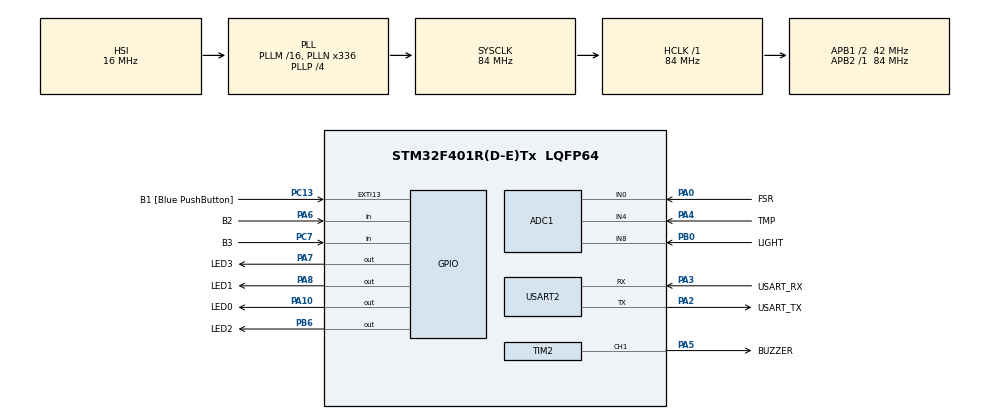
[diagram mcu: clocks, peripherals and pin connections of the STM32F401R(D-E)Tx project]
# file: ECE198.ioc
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ADC1.Channel-0\#ChannelRegularConversion=ADC_CHANNEL_0
ADC1.Channel-1\#ChannelRegularConversion=ADC_CHANNEL_4
ADC1.Channel-2\#ChannelRegularConversion=ADC_CHANNEL_8
ADC1.ContinuousConvMode=ENABLE
ADC1.NbrOfConversion=3
ADC1.NbrOfConversionFlag=1
ADC1.Rank-0\#ChannelRegularConversion=1
ADC1.Rank-1\#ChannelRegularConversion=2
ADC1.Rank-2\#ChannelRegularConversion=3
ADC1.SamplingTime-0\#ChannelRegularConversion=ADC_SAMPLETIME_28CYCLES
ADC1.SamplingTime-1\#ChannelRegularConversion=ADC_SAMPLETIME_84CYCLES
ADC1.SamplingTime-2\#ChannelRegularConversion=ADC_SAMPLETIME_144CYCLES
ADC1.ScanConvMode=ENABLE
ADC1.master=1
Mcu.Family=STM32F4
Mcu.Name=STM32F401R(D-E)Tx
Mcu.Package=LQFP64
NVIC.PriorityGroup=NVIC_PRIORITYGROUP_0
PA0-WKUP.GPIO_Label=FSR
PA0-WKUP.Signal=ADCx_IN0
PA10.GPIO_Label=LED0
PA10.Signal=GPIO_Output
PA13.GPIO_Label=TMS
PA13.Mode=Serial_Wire
PA13.Signal=SYS_JTMS-SWDIO
PA14.GPIO_Label=TCK
PA14.Mode=Serial_Wire
PA14.Signal=SYS_JTCK-SWCLK
PA2.GPIO_Label=USART_TX
PA2.GPIO_Mode=GPIO_MODE_AF_PP
PA2.GPIO_PuPd=GPIO_NOPULL
PA2.GPIO_Speed=GPIO_SPEED_FREQ_LOW
PA2.Mode=Asynchronous
PA2.Signal=USART2_TX
PA3.GPIO_Label=USART_RX
PA3.GPIO_Mode=GPIO_MODE_AF_PP
PA3.GPIO_PuPd=GPIO_NOPULL
PA3.GPIO_Speed=GPIO_SPEED_FREQ_LOW
PA3.Mode=Asynchronous
PA3.Signal=USART2_RX
PA4.GPIO_Label=TMP
PA4.Signal=ADCx_IN4
PA5.GPIO_Label=BUZZER
PA5.Signal=S_TIM2_CH1_ETR
PA6.GPIO_Label=B2
PA6.Signal=GPIO_Input
PA7.GPIO_Label=LED3
PA7.Signal=GPIO_Output
PA8.GPIO_Label=LED1
PA8.Signal=GPIO_Output
PB0.GPIO_Label=LIGHT
PB0.Signal=ADCx_IN8
PB3.GPIO_Label=SWO
PB3.Signal=SYS_JTDO-SWO
PB6.GPIO_Label=LED2
PB6.Signal=GPIO_Output
PC13-ANTI_TAMP.GPIO_Label=B1 [Blue PushButton]
PC13-ANTI_TAMP.GPIO_ModeDefaultEXTI=GPIO_MODE_IT_FALLING
PC13-ANTI_TAMP.GPIO_PuPd=GPIO_NOPULL
PC13-ANTI_TAMP.Signal=GPXTI13
PC14-OSC32_IN.Mode=LSE-External-Oscillator
PC14-OSC32_IN.Signal=RCC_OSC32_IN
PC15-OSC32_OUT.Mode=LSE-External-Oscillator
PC15-OSC32_OUT.Signal=RCC_OSC32_OUT
PC7.GPIO_Label=B3
PC7.Signal=GPIO_Input
PH0\ -\ OSC_IN.Mode=HSE-External-Clock-Source
PH0\ -\ OSC_IN.Signal=RCC_OSC_IN
PH1\ -\ OSC_OUT.Mode=HSE-External-Clock-Source
PH1\ -\ OSC_OUT.Signal=RCC_OSC_OUT
ProjectManager.HeapSize=0x200
ProjectManager.StackSize=0x400
ProjectManager.TargetToolchain=STM32CubeIDE
RCC.48MHZClocksFreq_Value=48000000
RCC.AHBFreq_Value=84000000
RCC.APB1CLKDivider=RCC_HCLK_DIV2
RCC.APB1Freq_Value=42000000
RCC.APB1TimFreq_Value=84000000
RCC.APB2Freq_Value=84000000
RCC.APB2TimFreq_Value=84000000
RCC.CortexFreq_Value=84000000
RCC.HCLKFreq_Value=84000000
RCC.HSE_VALUE=8000000
RCC.HSI_VALUE=16000000
RCC.PLLN=336
RCC.PLLP=RCC_PLLP_DIV4
RCC.PLLQ=7
RCC.SYSCLKFreq_VALUE=84000000
RCC.SYSCLKSource=RCC_SYSCLKSOURCE_PLLCLK
RCC.VCOOutputFreq_Value=336000000
SH.ADCx_IN0.0=ADC1_IN0,IN0
SH.ADCx_IN4.0=ADC1_IN4,IN4
SH.ADCx_IN8.0=ADC1_IN8,IN8
SH.S_TIM2_CH1_ETR.0=TIM2_CH1,PWM Generation1 CH1
TIM2.AutoReloadPreload=TIM_AUTORELOAD_PRELOAD_ENABLE
TIM2.Channel-PWM\ Generation1\ CH1=TIM_CHANNEL_1
TIM2.Period=700000
TIM2.Pulse-PWM\ Generation1\ CH1=0
USART2.VirtualMode=VM_ASYNC
VP_TIM2_VS_ClockSourceINT.Mode=Internal
board=NUCLEO-F401RE

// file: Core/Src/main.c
/* USER CODE BEGIN Header */
/**
 ********************************************************************************
 * @file           : main.c
 * @brief          : Main program body
 ********************************************************************************
 * @attention
 *
 * Copyright (c) 2023 STMicroelectronics.
 * All rights reserved.
 *
 * This software is licensed under terms that can be found in the LICENSE file
 * in the root directory of this software component.
 * If no LICENSE file comes with this software, it is provided AS-IS.
 *
 ******************************************************************************
 */
/* USER CODE END Header */
#include "main.h"

/* USER CODE BEGIN Includes */
#include <stdio.h>
#include <stdbool.h>
/* USER CODE END Includes */

ADC_HandleTypeDef hadc1;

TIM_HandleTypeDef htim2;

UART_HandleTypeDef huart2;

/* USER CODE BEGIN PV */
double const timescale = 1.0;

/* USER CODE END PV */

void SystemClock_Config(void);
static void MX_GPIO_Init(void);
static void MX_USART2_UART_Init(void);
static void MX_ADC1_Init(void);
static void MX_TIM2_Init(void);

/* USER CODE BEGIN 0 */

// the below 3 functions modified from https://controllerstech.com/stm32-adc-multi-channel-without-dma/
int readFSR() {
	ADC_ChannelConfTypeDef sConfig = { 0 };
	sConfig.Channel = ADC_CHANNEL_0;
	sConfig.Rank = 1;
	sConfig.SamplingTime = ADC_SAMPLETIME_28CYCLES;
	HAL_ADC_ConfigChannel(&hadc1, &sConfig);
	HAL_ADC_Start(&hadc1);
	HAL_ADC_PollForConversion(&hadc1, 500);
	int ret = HAL_ADC_GetValue(&hadc1);
	HAL_ADC_Stop(&hadc1);
	return ret;
}

int readTMP() {
	ADC_ChannelConfTypeDef sConfig = { 0 };
	sConfig.Channel = ADC_CHANNEL_4;
	sConfig.Rank = 1;
	sConfig.SamplingTime = ADC_SAMPLETIME_84CYCLES;
	HAL_ADC_ConfigChannel(&hadc1, &sConfig);
	HAL_ADC_Start(&hadc1);
	HAL_ADC_PollForConversion(&hadc1, 500);
	int ret = HAL_ADC_GetValue(&hadc1);
	HAL_ADC_Stop(&hadc1);
	return ret;
}

int readLIGHT() {
	ADC_ChannelConfTypeDef sConfig = { 0 };
	sConfig.Channel = ADC_CHANNEL_8;
	sConfig.Rank = 1;
	sConfig.SamplingTime = ADC_SAMPLETIME_144CYCLES;
	HAL_ADC_ConfigChannel(&hadc1, &sConfig);
	HAL_ADC_Start(&hadc1);
	HAL_ADC_PollForConversion(&hadc1, 500);
	int ret = HAL_ADC_GetValue(&hadc1);
	HAL_ADC_Stop(&hadc1);
	return ret;
}

void turn_on_buzzer(int freq, bool *buzzer_on) {
	if (!(*buzzer_on)) {
		const int CLOCK_FREQ = 84000000;
		__HAL_TIM_SET_AUTORELOAD(&htim2, CLOCK_FREQ / freq);
		__HAL_TIM_SET_COMPARE(&htim2, TIM_CHANNEL_1, CLOCK_FREQ / freq / 2);
		__HAL_TIM_SET_COUNTER(&htim2, 0);
		int eee = __HAL_TIM_GET_COUNTER(&htim2);
		int eeee = __HAL_TIM_GET_AUTORELOAD(&htim2);
		int eeeee = __HAL_TIM_GET_COMPARE(&htim2, TIM_CHANNEL_1);
		(*buzzer_on) = true;
	}
}

void turn_off_buzzer(bool *buzzer_on) {
	if (*buzzer_on) {
		__HAL_TIM_SET_AUTORELOAD(&htim2, 1);
		__HAL_TIM_SET_COMPARE(&htim2, TIM_CHANNEL_1, 0);
		__HAL_TIM_SET_COUNTER(&htim2, 0);
		(*buzzer_on) = false;
	}
}
/* USER CODE END 0 */

int main(void) {

	/* MCU Configuration--------------------------------------------------------*/

	/* Reset of all peripherals, Initializes the Flash interface and the Systick. */
	HAL_Init();

	/* Configure the system clock */
	SystemClock_Config();

	/* Initialize all configured peripherals */
	MX_GPIO_Init();
	MX_USART2_UART_Init();
	MX_ADC1_Init();
	MX_TIM2_Init();
	/* USER CODE BEGIN 2 */
	HAL_TIM_PWM_Start(&htim2, TIM_CHANNEL_1);
	int cnt = 0;
	uint32_t prevTick = 0;
	uint32_t prevDebugTick = 0;

	int m_sum_TMP = 0;
	int m_sum_LIGHT = 0;
	int m_sum_FSR = 0;

	int m_avg_TMP = 0;
	int m_avg_LIGHT = 0;
	int m_avg_FSR = 0;

	const int m_avg_cnt = 5; // number of values to keep track of for moving average

	int val_TMP[5] = { 0 };
	int val_LIGHT[5] = { 0 };
	int val_FSR[5] = { 0 };

	bool prev_fridge_is_open = false;
	bool is_alarming = 1;

	bool buzzer_on = 0;

	uint32_t buzzer_countdown_ms = 0; // how long until buzzer turns off
	uint32_t buzzer_start_time = 0;   // tick when buzzer turned on

	uint32_t C3_timer = 0;
	uint32_t C2_timer = 0;
	uint32_t C1_timer = 0;

	uint32_t prev_alarm = 0;
	// prev_alarm is the time at which the alarm previously rang

	double timescale = 720;
	/* USER CODE END 2 */

	/* Infinite loop */
	while (1) {

		/* USER CODE BEGIN 3 */
		uint32_t tick = HAL_GetTick();

		if (tick - prevTick > 100) {
			prevTick = tick;

			// Calculating moving averages
			cnt++;
			cnt %= m_avg_cnt;

			int reading = readFSR();
			m_sum_FSR += reading - val_FSR[cnt];
			val_FSR[cnt] = reading;
			m_avg_FSR = m_sum_FSR / m_avg_cnt;

			reading = readTMP();
			m_sum_TMP += reading - val_TMP[cnt];
			val_TMP[cnt] = reading;
			m_avg_TMP = m_sum_TMP / m_avg_cnt;

			reading = readLIGHT();
			m_sum_LIGHT += reading - val_LIGHT[cnt];
			val_LIGHT[cnt] = reading;
			m_avg_LIGHT = m_sum_LIGHT / m_avg_cnt;

			// timers and detection
			if (B2_pressed) { // just pushed down last loop
				C2_timer = 604800000; // milliseconds in a week
				play_buzzer_tone;
			} else if (B2_released) { // just released last loop
				play_buzzer_tone;
				last_removed = HAL_GetTick(); // time at which C2/C3 last removed
				last_removed_timer = C2_timer; // timer value when C2/C3 last removed
			}
			// loop_time is duration of one loop in milliseconds
			if (B2_held) { C2_timer -= 1 * loop_time; }

			// detecting opening of fridge
			bool fridge_is_open = m_avg_LIGHT > 300;
			bool fridge_just_opened = fridge_is_open && !prev_fridge_is_open;
			bool fridge_just_closed = !fridge_is_open && prev_fridge_is_open;
			prev_fridge_is_open = fridge_is_open;

			// alarming when fridge is opened
			if (fridge_just_opened) {
				// turn on warning LEDs
				HAL_GPIO_WritePin(LED1_GPIO_Port, LED1_Pin, 0);

				// ring buzzer
				if (is_alarming) {
					turn_on_buzzer(440, &buzzer_on);
					buzzer_countdown_ms = 500;
					buzzer_start_time = tick;
				}
			}

			if (fridge_just_closed) {
				// turn all LEDs off
				HAL_GPIO_WritePin(LED1_GPIO_Port, LED1_Pin, 0);
			}

			// Warning when temperature too low
			if (m_avg_TMP < 751 && fridge_is_open) {
				HAL_GPIO_WritePin(LED0_GPIO_Port, LED0_Pin, 1);
			} else {
				HAL_GPIO_WritePin(LED0_GPIO_Port, LED0_Pin, 0);
			}

			// once per hour alarm
			if (is_alarming && tick - prev_alarm > 3600000 / timescale) { // ring once per hour
				turn_on_buzzer(523, &buzzer_on);
				buzzer_countdown_ms = 500;
				buzzer_start_time = tick;
				prev_alarm = HAL_GetTick();
			}

			// turning off the timer
			if (tick - buzzer_start_time > buzzer_countdown_ms && buzzer_on) {
				turn_off_buzzer(&buzzer_on);
			}
		}

		if (tick - prevDebugTick > 500) {
			prevDebugTick = tick;
			bool B2 = HAL_GPIO_ReadPin(B2_GPIO_Port, B2_Pin);
			bool B3 = HAL_GPIO_ReadPin(B3_GPIO_Port, B3_Pin);
			printf("FSR: %d TMP: %d LIGHT: %d B2: %d B3: %d\n", m_avg_FSR,
					m_avg_TMP, m_avg_LIGHT, B2, B3);
		}
	}
	/* USER CODE END 3 */
}

void SystemClock_Config(void) {
	RCC_OscInitTypeDef RCC_OscInitStruct = { 0 };
	RCC_ClkInitTypeDef RCC_ClkInitStruct = { 0 };

	/** Configure the main internal regulator output voltage
	 */
	__HAL_RCC_PWR_CLK_ENABLE();
	__HAL_PWR_VOLTAGESCALING_CONFIG(PWR_REGULATOR_VOLTAGE_SCALE2);

	/** Initializes the RCC Oscillators according to the specified parameters
	 * in the RCC_OscInitTypeDef structure.
	 */
	RCC_OscInitStruct.OscillatorType = RCC_OSCILLATORTYPE_HSI;
	RCC_OscInitStruct.HSIState = RCC_HSI_ON;
	RCC_OscInitStruct.HSICalibrationValue = RCC_HSICALIBRATION_DEFAULT;
	RCC_OscInitStruct.PLL.PLLState = RCC_PLL_ON;
	RCC_OscInitStruct.PLL.PLLSource = RCC_PLLSOURCE_HSI;
	RCC_OscInitStruct.PLL.PLLM = 16;
	RCC_OscInitStruct.PLL.PLLN = 336;
	RCC_OscInitStruct.PLL.PLLP = RCC_PLLP_DIV4;
	RCC_OscInitStruct.PLL.PLLQ = 7;
	if (HAL_RCC_OscConfig(&RCC_OscInitStruct) != HAL_OK) {
		Error_Handler();
	}

	/** Initializes the CPU, AHB and APB buses clocks
	 */
	RCC_ClkInitStruct.ClockType = RCC_CLOCKTYPE_HCLK | RCC_CLOCKTYPE_SYSCLK
			| RCC_CLOCKTYPE_PCLK1 | RCC_CLOCKTYPE_PCLK2;
	RCC_ClkInitStruct.SYSCLKSource = RCC_SYSCLKSOURCE_PLLCLK;
	RCC_ClkInitStruct.AHBCLKDivider = RCC_SYSCLK_DIV1;
	RCC_ClkInitStruct.APB1CLKDivider = RCC_HCLK_DIV2;
	RCC_ClkInitStruct.APB2CLKDivider = RCC_HCLK_DIV1;

	if (HAL_RCC_ClockConfig(&RCC_ClkInitStruct, FLASH_LATENCY_2) != HAL_OK) {
		Error_Handler();
	}
}

static void MX_ADC1_Init(void) {

	ADC_ChannelConfTypeDef sConfig = { 0 };

	/** Configure the global features of the ADC (Clock, Resolution, Data Alignment and number of conversion)
	 */
	hadc1.Instance = ADC1;
	hadc1.Init.ClockPrescaler = ADC_CLOCK_SYNC_PCLK_DIV4;
	hadc1.Init.Resolution = ADC_RESOLUTION_12B;
	hadc1.Init.ScanConvMode = ENABLE;
	hadc1.Init.ContinuousConvMode = ENABLE;
	hadc1.Init.DiscontinuousConvMode = DISABLE;
	hadc1.Init.ExternalTrigConvEdge = ADC_EXTERNALTRIGCONVEDGE_NONE;
	hadc1.Init.ExternalTrigConv = ADC_SOFTWARE_START;
	hadc1.Init.DataAlign = ADC_DATAALIGN_RIGHT;
	hadc1.Init.NbrOfConversion = 3;
	hadc1.Init.DMAContinuousRequests = DISABLE;
	hadc1.Init.EOCSelection = ADC_EOC_SINGLE_CONV;
	if (HAL_ADC_Init(&hadc1) != HAL_OK) {
		Error_Handler();
	}

	/** Configure for the selected ADC regular channel its corresponding rank in the sequencer and its sample time.
	 */
	sConfig.Channel = ADC_CHANNEL_0;
	sConfig.Rank = 1;
	sConfig.SamplingTime = ADC_SAMPLETIME_28CYCLES;
	if (HAL_ADC_ConfigChannel(&hadc1, &sConfig) != HAL_OK) {
		Error_Handler();
	}

	/** Configure for the selected ADC regular channel its corresponding rank in the sequencer and its sample time.
	 */
	sConfig.Channel = ADC_CHANNEL_4;
	sConfig.Rank = 2;
	sConfig.SamplingTime = ADC_SAMPLETIME_84CYCLES;
	if (HAL_ADC_ConfigChannel(&hadc1, &sConfig) != HAL_OK) {
		Error_Handler();
	}

	/** Configure for the selected ADC regular channel its corresponding rank in the sequencer and its sample time.
	 */
	sConfig.Channel = ADC_CHANNEL_8;
	sConfig.Rank = 3;
	sConfig.SamplingTime = ADC_SAMPLETIME_144CYCLES;
	if (HAL_ADC_ConfigChannel(&hadc1, &sConfig) != HAL_OK) {
		Error_Handler();
	}

}

static void MX_TIM2_Init(void) {

	TIM_ClockConfigTypeDef sClockSourceConfig = { 0 };
	TIM_MasterConfigTypeDef sMasterConfig = { 0 };
	TIM_OC_InitTypeDef sConfigOC = { 0 };

	htim2.Instance = TIM2;
	htim2.Init.Prescaler = 0;
	htim2.Init.CounterMode = TIM_COUNTERMODE_UP;
	htim2.Init.Period = 700000;
	htim2.Init.ClockDivision = TIM_CLOCKDIVISION_DIV1;
	htim2.Init.AutoReloadPreload = TIM_AUTORELOAD_PRELOAD_ENABLE;
	if (HAL_TIM_Base_Init(&htim2) != HAL_OK) {
		Error_Handler();
	}
	sClockSourceConfig.ClockSource = TIM_CLOCKSOURCE_INTERNAL;
	if (HAL_TIM_ConfigClockSource(&htim2, &sClockSourceConfig) != HAL_OK) {
		Error_Handler();
	}
	if (HAL_TIM_PWM_Init(&htim2) != HAL_OK) {
		Error_Handler();
	}
	sMasterConfig.MasterOutputTrigger = TIM_TRGO_RESET;
	sMasterConfig.MasterSlaveMode = TIM_MASTERSLAVEMODE_DISABLE;
	if (HAL_TIMEx_MasterConfigSynchronization(&htim2, &sMasterConfig)
			!= HAL_OK) {
		Error_Handler();
	}
	sConfigOC.OCMode = TIM_OCMODE_PWM1;
	sConfigOC.Pulse = 0;
	sConfigOC.OCPolarity = TIM_OCPOLARITY_HIGH;
	sConfigOC.OCFastMode = TIM_OCFAST_DISABLE;
	if (HAL_TIM_PWM_ConfigChannel(&htim2, &sConfigOC, TIM_CHANNEL_1)
			!= HAL_OK) {
		Error_Handler();
	}
	HAL_TIM_MspPostInit(&htim2);

}

static void MX_USART2_UART_Init(void) {

	huart2.Instance = USART2;
	huart2.Init.BaudRate = 115200;
	huart2.Init.WordLength = UART_WORDLENGTH_8B;
	huart2.Init.StopBits = UART_STOPBITS_1;
	huart2.Init.Parity = UART_PARITY_NONE;
	huart2.Init.Mode = UART_MODE_TX_RX;
	huart2.Init.HwFlowCtl = UART_HWCONTROL_NONE;
	huart2.Init.OverSampling = UART_OVERSAMPLING_16;
	if (HAL_UART_Init(&huart2) != HAL_OK) {
		Error_Handler();
	}

}

static void MX_GPIO_Init(void) {
	GPIO_InitTypeDef GPIO_InitStruct = { 0 };

	/* GPIO Ports Clock Enable */
	__HAL_RCC_GPIOC_CLK_ENABLE();
	__HAL_RCC_GPIOH_CLK_ENABLE();
	__HAL_RCC_GPIOA_CLK_ENABLE();
	__HAL_RCC_GPIOB_CLK_ENABLE();

	/*Configure GPIO pin Output Level */
	HAL_GPIO_WritePin(GPIOA, LED3_Pin | LED1_Pin | LED0_Pin, GPIO_PIN_RESET);

	/*Configure GPIO pin Output Level */
	HAL_GPIO_WritePin(LED2_GPIO_Port, LED2_Pin, GPIO_PIN_RESET);

	/*Configure GPIO pin : B1_Pin */
	GPIO_InitStruct.Pin = B1_Pin;
	GPIO_InitStruct.Mode = GPIO_MODE_IT_FALLING;
	GPIO_InitStruct.Pull = GPIO_NOPULL;
	HAL_GPIO_Init(B1_GPIO_Port, &GPIO_InitStruct);

	/*Configure GPIO pin : B2_Pin */
	GPIO_InitStruct.Pin = B2_Pin;
	GPIO_InitStruct.Mode = GPIO_MODE_INPUT;
	GPIO_InitStruct.Pull = GPIO_NOPULL;
	HAL_GPIO_Init(B2_GPIO_Port, &GPIO_InitStruct);

	/*Configure GPIO pins : LED3_Pin LED1_Pin LED0_Pin */
	GPIO_InitStruct.Pin = LED3_Pin | LED1_Pin | LED0_Pin;
	GPIO_InitStruct.Mode = GPIO_MODE_OUTPUT_PP;
	GPIO_InitStruct.Pull = GPIO_NOPULL;
	GPIO_InitStruct.Speed = GPIO_SPEED_FREQ_LOW;
	HAL_GPIO_Init(GPIOA, &GPIO_InitStruct);

	/*Configure GPIO pin : B3_Pin */
	GPIO_InitStruct.Pin = B3_Pin;
	GPIO_InitStruct.Mode = GPIO_MODE_INPUT;
	GPIO_InitStruct.Pull = GPIO_NOPULL;
	HAL_GPIO_Init(B3_GPIO_Port, &GPIO_InitStruct);

	/*Configure GPIO pin : LED2_Pin */
	GPIO_InitStruct.Pin = LED2_Pin;
	GPIO_InitStruct.Mode = GPIO_MODE_OUTPUT_PP;
	GPIO_InitStruct.Pull = GPIO_NOPULL;
	GPIO_InitStruct.Speed = GPIO_SPEED_FREQ_LOW;
	HAL_GPIO_Init(LED2_GPIO_Port, &GPIO_InitStruct);

}

/* USER CODE BEGIN 4 */
int _write(int file, char *ptr, int len) {
	(void) file;
	int DataIdx;

	for (DataIdx = 0; DataIdx < len; DataIdx++) {
		ITM_SendChar(*ptr++);
	}
	return len;
}
/* USER CODE END 4 */

void Error_Handler(void) {
	__disable_irq();
	while (1) {
	}
}
